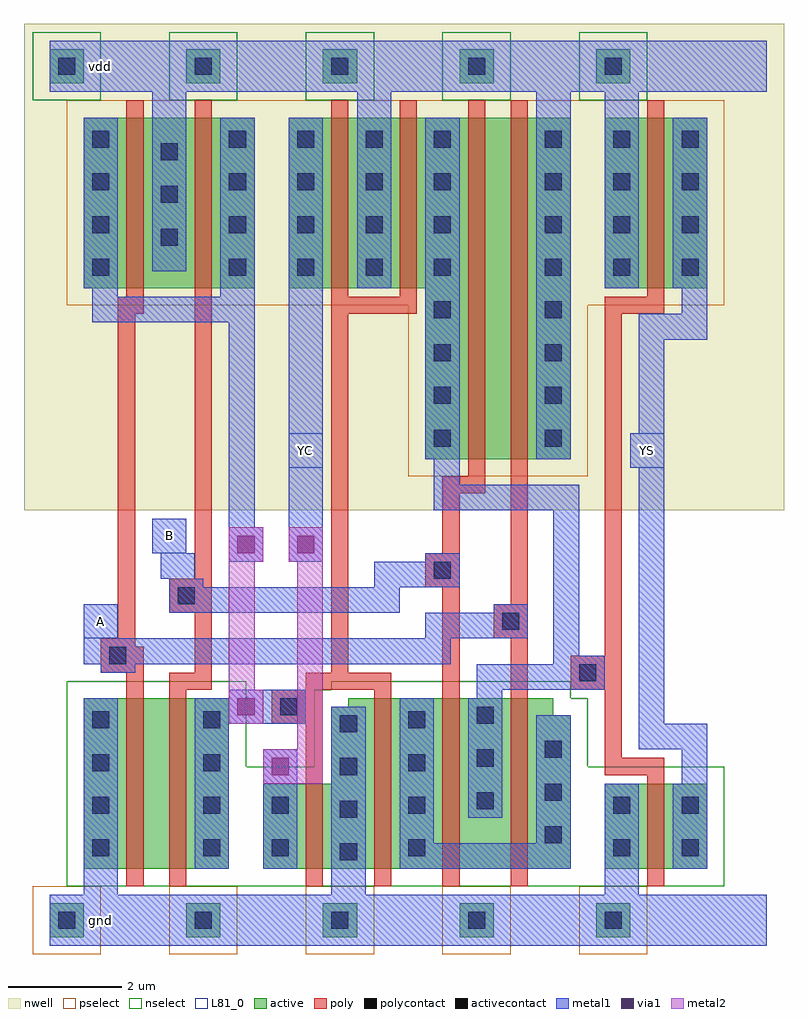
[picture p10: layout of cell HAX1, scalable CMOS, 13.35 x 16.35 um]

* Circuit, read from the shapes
.subckt HAX1 A B YC YS gnd vdd
M1 n1 A gnd gnd nfet w=3u l=0.3u
M2 n2 B n1 gnd nfet w=3u l=0.3u
M3 gnd n2 YC gnd nfet w=1.5u l=0.3u
M4 n3 n2 gnd gnd nfet w=3u l=0.3u
M5 n4 B n3 gnd nfet w=3u l=0.3u
M6 n3 A n4 gnd nfet w=3u l=0.3u
M7 YS n4 gnd gnd nfet w=1.5u l=0.3u
M8 vdd A n2 vdd pfet w=3u l=0.3u
M9 n2 B vdd vdd pfet w=3u l=0.3u
M10 vdd n2 YC vdd pfet w=3u l=0.3u
M11 n4 n2 vdd vdd pfet w=3u l=0.3u
M12 n5 B n4 vdd pfet w=6u l=0.3u
M13 vdd A n5 vdd pfet w=6u l=0.3u
M14 YS n4 vdd vdd pfet w=3u l=0.3u
.ends

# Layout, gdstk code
import gdstk
lib = gdstk.Library(unit=1e-6, precision=1e-09)
def R(c, l, rs):  # rectangles x0, y0, x1, y1
    for r in rs: c.add(gdstk.rectangle(r[:2], r[2:], *l))
def A(c, l, x, y, w, h, nx, ny, dx, dy):  # array of equal rectangles
    R(c, l, [(x+i*dx, y+j*dy, x+i*dx+w, y+j*dy+h) for i in range(nx) for j in range(ny)])
nwell = (42, 0)
active = (43, 0)
pselect = (44, 0)
nselect = (45, 0)
poly = (46, 0)
polycontact = (47, 0)
activecontact = (48, 0)
metal1 = (49, 0)
via1 = (50, 0)
metal2 = (51, 0)
L81_0 = (81, 0)

hax1 = lib.new_cell('HAX1')
R(hax1, nwell, [(-0.75,7.2,12.6,15.75)])
A(hax1, active, -0.3, -0.3, 0.6, 0.6, 5, 2, 2.4, 15)
R(hax1, active, [(0.3,0.9,2.85,3.9), (3.45,0.9,8.85,2.4), (9.45,0.9,11.25,2.4), (4.65,2.4,8.85,3.6), (4.65,3.6,8.55,3.75), (4.95,3.75,8.55,3.9), (6.3,8.1,8.85,11.1), (0.3,11.1,3.3,14.1), (3.9,11.1,8.85,14.1), (9.45,11.1,11.25,14.1)])
A(hax1, pselect, -0.6, -0.6, 1.2, 1.2, 5, 1, 2.4, 0)
R(hax1, pselect, [(6,7.8,9.15,10.8), (0,10.8,11.55,14.4)])
A(hax1, nselect, -0.6, 14.4, 1.2, 1.2, 5, 1, 2.4, 0)
R(hax1, nselect, [(0,0.6,11.55,2.7), (0,2.7,3.15,4.2), (4.35,2.7,9.15,3.9), (4.35,3.9,8.85,4.05), (4.65,4.05,8.85,4.2)])
R(hax1, poly, [(1.05,0.6,1.35,4.35), (1.8,0.6,2.1,4.05), (4.2,0.6,4.5,3.45), (5.4,0.6,5.7,4.05), (6.6,0.6,6.9,5.85), (7.8,0.6,8.1,4.95), (10.2,0.6,10.5,2.55), (9.45,2.55,10.5,2.85), (9.45,2.85,9.75,4.05), (3.6,3.45,4.5,4.05), (1.8,4.05,2.55,4.35), (4.2,4.05,5.7,4.35), (8.85,4.05,9.75,4.65), (0.6,4.35,1.35,4.8), (2.25,4.35,2.55,5.4), (4.65,4.35,4.95,10.65), (9.45,4.65,9.75,10.65), (0.6,4.8,1.2,4.95), (0.9,4.95,1.2,10.65), (7.5,4.95,8.1,5.55), (1.8,5.4,2.55,6), (7.8,5.55,8.1,14.4), (6.3,5.85,6.9,6.45), (2.25,6,2.55,14.4), (6.6,6.45,6.9,7.5), (6.6,7.5,7.35,7.8), (7.05,7.8,7.35,14.4), (0.9,10.65,1.35,10.95), (4.65,10.65,6.15,10.95), (9.45,10.65,10.5,10.95), (1.05,10.95,1.35,14.4), (4.65,10.95,4.95,14.4), (5.85,10.95,6.15,14.4), (10.2,10.95,10.5,14.4)])
R(hax1, polycontact, [(3.75,3.6,4.05,3.9), (9,4.2,9.3,4.5), (0.75,4.5,1.05,4.8), (7.65,5.1,7.95,5.4), (1.95,5.55,2.25,5.85), (6.45,6,6.75,6.3)])
A(hax1, activecontact, -0.15, -0.15, 0.3, 0.3, 5, 2, 2.4, 15)
A(hax1, activecontact, 4.8, 1.05, 0.3, 0.3, 1, 4, 0, 0.75)
A(hax1, activecontact, 0.45, 1.12, 0.3, 0.3, 1, 4, 0, 0.75)
A(hax1, activecontact, 2.4, 1.12, 0.3, 0.3, 1, 4, 0, 0.75)
A(hax1, activecontact, 6, 1.12, 0.3, 0.3, 1, 4, 0, 0.75)
A(hax1, activecontact, 8.4, 1.35, 0.3, 0.3, 1, 3, 0, 0.75)
A(hax1, activecontact, 7.2, 1.95, 0.3, 0.3, 1, 3, 0, 0.75)
A(hax1, activecontact, 6.45, 8.32, 0.3, 0.3, 1, 4, 0, 0.75)
A(hax1, activecontact, 8.4, 8.32, 0.3, 0.3, 1, 4, 0, 0.75)
A(hax1, activecontact, 0.45, 11.32, 0.3, 0.3, 1, 4, 0, 0.75)
A(hax1, activecontact, 2.85, 11.32, 0.3, 0.3, 4, 4, 1.2, 0.75)
A(hax1, activecontact, 8.4, 11.32, 0.3, 0.3, 3, 4, 1.2, 0.75)
A(hax1, activecontact, 1.65, 11.85, 0.3, 0.3, 1, 3, 0, 0.75)
R(hax1, activecontact, [(3.6,1.12,3.9,1.42), (9.6,1.12,9.9,1.42), (10.8,1.12,11.1,1.42), (3.6,1.87,3.9,2.17), (9.6,1.87,9.9,2.17), (10.8,1.87,11.1,2.17)])
R(hax1, metal1, [(-0.3,-0.45,12.3,0.45), (0.3,0.45,0.9,3.9), (4.65,0.45,5.25,3.75), (9.45,0.45,10.05,2.4), (2.25,0.9,2.85,3.45), (3.45,0.9,4.05,3), (5.85,0.9,8.85,1.35), (10.65,0.9,11.25,2.4), (5.85,1.35,6.45,3.9), (8.25,1.35,8.85,3.6), (7.05,1.8,7.65,3.9), (10.8,2.4,11.25,3), (10.05,3,11.25,3.45), (2.25,3.45,4.2,3.9), (10.05,3.45,10.5,7.95), (2.85,3.9,4.2,4.05), (7.2,3.9,7.65,4.05), (7.2,4.05,9.45,4.5), (0.6,4.35,1.2,4.5), (0.3,4.5,6.75,4.95), (8.55,4.5,9.45,4.65), (8.55,4.65,9,7.2), (0.3,4.95,0.9,5.55), (6.3,4.95,8.1,5.4), (1.8,5.4,5.85,5.85), (7.5,5.4,8.1,5.55), (1.8,5.85,2.4,6), (5.4,5.85,6.9,6.3), (1.65,6,2.25,6.45), (2.85,6.3,3.45,6.9), (3.9,6.3,4.5,14.1), (6.3,6.3,6.9,6.45), (1.5,6.45,2.1,7.05), (2.85,6.9,3.3,10.5), (6.45,7.2,9,7.65), (6.45,7.65,6.9,8.1), (9.9,7.95,10.5,8.55), (6.3,8.1,6.9,14.1), (8.25,8.1,8.85,14.55), (10.05,8.55,10.5,10.2), (10.05,10.2,11.25,10.65), (0.45,10.5,3.3,10.95), (10.8,10.65,11.25,11.1), (0.45,10.95,0.9,11.1), (2.7,10.95,3.3,14.1), (0.3,11.1,0.9,14.1), (5.1,11.1,5.7,14.55), (9.45,11.1,10.05,14.55), (10.65,11.1,11.25,14.1), (1.5,11.4,2.1,14.55), (-0.3,14.55,12.3,15.45)])
R(hax1, via1, [(3.6,2.55,3.9,2.85), (3,3.6,3.3,3.9), (3,6.45,3.3,6.75), (4.05,6.45,4.35,6.75)])
R(hax1, metal2, [(3.45,2.4,4.5,3), (4.05,3,4.5,6.3), (2.85,3.45,3.45,4.05), (2.85,4.05,3.3,6.3), (2.85,6.3,3.45,6.9), (3.9,6.3,4.5,6.9)])
R(hax1, L81_0, [(0.3,4.95,0.9,5.55), (1.5,6.45,2.1,7.05), (3.9,7.95,4.5,8.55), (9.9,7.95,10.5,8.55)])
hax1.add(gdstk.Label('vdd', (0.6,15), layer=109, texttype=0))
hax1.add(gdstk.Label('gnd', (0.6,0), layer=109, texttype=0))
hax1.add(gdstk.Label('YC', (4.2,8.25), layer=109, texttype=0))
hax1.add(gdstk.Label('A', (0.6,5.25), layer=109, texttype=0))
hax1.add(gdstk.Label('B', (1.8,6.75), layer=109, texttype=0))
hax1.add(gdstk.Label('YS', (10.2,8.25), layer=109, texttype=0))

lib.write_gds('HAX1.gds')
